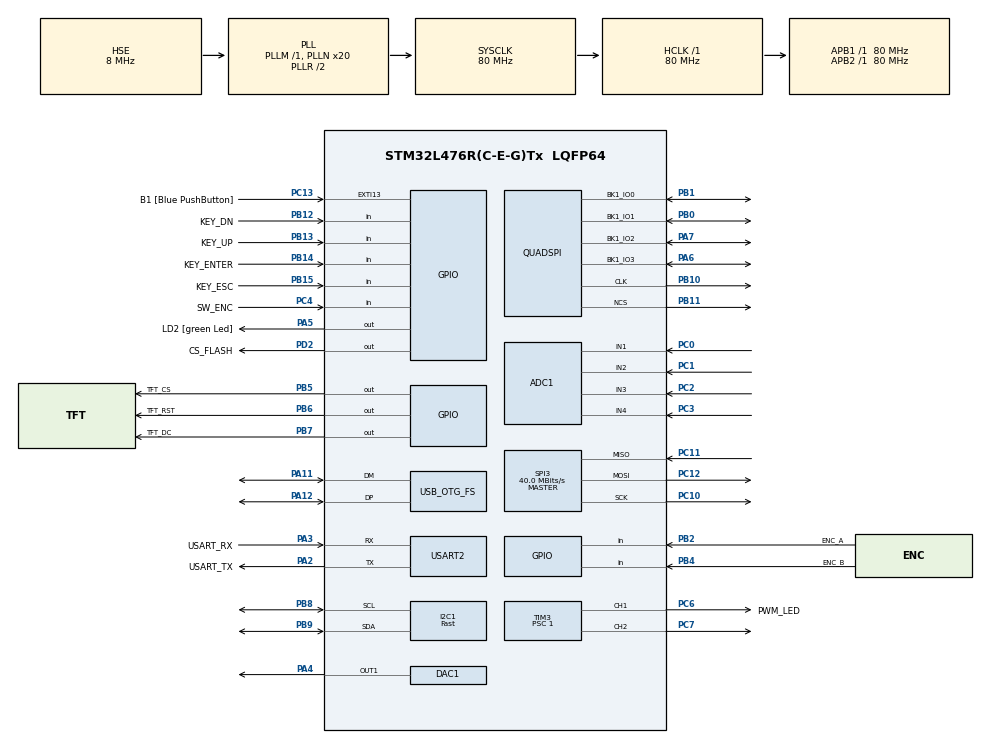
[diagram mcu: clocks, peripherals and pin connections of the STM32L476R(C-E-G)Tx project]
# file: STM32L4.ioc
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ADC1.Channel-0\#ChannelRegularConversion=ADC_CHANNEL_1
ADC1.Channel-1\#ChannelRegularConversion=ADC_CHANNEL_2
ADC1.Channel-2\#ChannelRegularConversion=ADC_CHANNEL_3
ADC1.Channel-3\#ChannelRegularConversion=ADC_CHANNEL_4
ADC1.ClockPrescaler=ADC_CLOCK_ASYNC_DIV2
ADC1.NbrOfConversion=4
ADC1.NbrOfConversionFlag=1
ADC1.OffsetNumber-0\#ChannelRegularConversion=ADC_OFFSET_NONE
ADC1.OffsetNumber-1\#ChannelRegularConversion=ADC_OFFSET_NONE
ADC1.OffsetNumber-2\#ChannelRegularConversion=ADC_OFFSET_NONE
ADC1.OffsetNumber-3\#ChannelRegularConversion=ADC_OFFSET_NONE
ADC1.Rank-0\#ChannelRegularConversion=1
ADC1.Rank-1\#ChannelRegularConversion=2
ADC1.Rank-2\#ChannelRegularConversion=3
ADC1.Rank-3\#ChannelRegularConversion=4
ADC1.SamplingTime-0\#ChannelRegularConversion=ADC_SAMPLETIME_247CYCLES_5
ADC1.SamplingTime-1\#ChannelRegularConversion=ADC_SAMPLETIME_247CYCLES_5
ADC1.SamplingTime-2\#ChannelRegularConversion=ADC_SAMPLETIME_247CYCLES_5
ADC1.SamplingTime-3\#ChannelRegularConversion=ADC_SAMPLETIME_247CYCLES_5
ADC1.master=1
Dma.QUADSPI.2.Direction=DMA_PERIPH_TO_MEMORY
Dma.QUADSPI.2.Instance=DMA1_Channel5
Dma.QUADSPI.2.MemDataAlignment=DMA_MDATAALIGN_BYTE
Dma.QUADSPI.2.MemInc=DMA_MINC_ENABLE
Dma.QUADSPI.2.Mode=DMA_NORMAL
Dma.QUADSPI.2.PeriphDataAlignment=DMA_PDATAALIGN_BYTE
Dma.QUADSPI.2.PeriphInc=DMA_PINC_DISABLE
Dma.QUADSPI.2.Priority=DMA_PRIORITY_HIGH
Dma.Request0=SPI3_TX
Dma.Request1=SPI3_RX
Dma.Request2=QUADSPI
Dma.SPI3_RX.1.Direction=DMA_PERIPH_TO_MEMORY
Dma.SPI3_RX.1.Instance=DMA2_Channel1
Dma.SPI3_RX.1.MemDataAlignment=DMA_MDATAALIGN_BYTE
Dma.SPI3_RX.1.MemInc=DMA_MINC_ENABLE
Dma.SPI3_RX.1.Mode=DMA_NORMAL
Dma.SPI3_RX.1.PeriphDataAlignment=DMA_PDATAALIGN_BYTE
Dma.SPI3_RX.1.PeriphInc=DMA_PINC_DISABLE
Dma.SPI3_RX.1.Priority=DMA_PRIORITY_HIGH
Dma.SPI3_TX.0.Direction=DMA_MEMORY_TO_PERIPH
Dma.SPI3_TX.0.Instance=DMA2_Channel2
Dma.SPI3_TX.0.MemDataAlignment=DMA_MDATAALIGN_BYTE
Dma.SPI3_TX.0.MemInc=DMA_MINC_ENABLE
Dma.SPI3_TX.0.Mode=DMA_NORMAL
Dma.SPI3_TX.0.PeriphDataAlignment=DMA_PDATAALIGN_BYTE
Dma.SPI3_TX.0.PeriphInc=DMA_PINC_DISABLE
Dma.SPI3_TX.0.Priority=DMA_PRIORITY_HIGH
FATFS._MAX_SS=4096
FATFS._MIN_SS=4096
I2C1.I2C_Coeff_DF=1
I2C1.I2C_Speed_Mode=I2C_Fast
I2C1.Timing=0x00702890
Mcu.Family=STM32L4
Mcu.Name=STM32L476R(C-E-G)Tx
Mcu.Package=LQFP64
NVIC.DMA1_Channel5_IRQn=true\:0\:0\:false\:false\:true\:false\:true
NVIC.DMA2_Channel1_IRQn=true\:0\:0\:false\:false\:true\:false\:true
NVIC.DMA2_Channel2_IRQn=true\:0\:0\:false\:false\:true\:false\:true
NVIC.OTG_FS_IRQn=true\:0\:0\:false\:false\:true\:false\:true
NVIC.PriorityGroup=NVIC_PRIORITYGROUP_4
NVIC.QUADSPI_IRQn=true\:0\:0\:false\:false\:true\:true\:true
NVIC.SPI3_IRQn=true\:0\:0\:false\:false\:true\:true\:true
NVIC.TIM6_DAC_IRQn=true\:0\:0\:false\:false\:true\:false\:true
NVIC.TimeBase=TIM6_DAC_IRQn
NVIC.TimeBaseIP=TIM6
PA11.Mode=Device_Only
PA11.Signal=USB_OTG_FS_DM
PA12.Mode=Device_Only
PA12.Signal=USB_OTG_FS_DP
PA13\ (JTMS-SWDIO).GPIO_Label=TMS
PA13\ (JTMS-SWDIO).Mode=Serial_Wire
PA13\ (JTMS-SWDIO).Signal=SYS_JTMS-SWDIO
PA14\ (JTCK-SWCLK).GPIO_Label=TCK
PA14\ (JTCK-SWCLK).Mode=Serial_Wire
PA14\ (JTCK-SWCLK).Signal=SYS_JTCK-SWCLK
PA2.GPIO_Label=USART_TX
PA2.GPIO_Mode=GPIO_MODE_AF_PP
PA2.GPIO_PuPd=GPIO_NOPULL
PA2.GPIO_Speed=GPIO_SPEED_FREQ_VERY_HIGH
PA2.Mode=Asynchronous
PA2.Signal=USART2_TX
PA3.GPIO_Label=USART_RX
PA3.GPIO_Mode=GPIO_MODE_AF_PP
PA3.GPIO_PuPd=GPIO_NOPULL
PA3.GPIO_Speed=GPIO_SPEED_FREQ_VERY_HIGH
PA3.Mode=Asynchronous
PA3.Signal=USART2_RX
PA4.Signal=COMP_DAC11_group
PA5.GPIO_Label=LD2 [green Led]
PA5.GPIO_ModeDefaultOutputPP=GPIO_MODE_OUTPUT_PP
PA5.GPIO_PuPd=GPIO_NOPULL
PA5.GPIO_Speed=GPIO_SPEED_FREQ_LOW
PA5.Signal=GPIO_Output
PA6.Mode=Single Bank
PA6.Signal=QUADSPI_BK1_IO3
PA7.Mode=Single Bank
PA7.Signal=QUADSPI_BK1_IO2
PB0.Mode=Single Bank
PB0.Signal=QUADSPI_BK1_IO1
PB1.Mode=Single Bank
PB1.Signal=QUADSPI_BK1_IO0
PB10.Mode=Single Bank
PB10.Signal=QUADSPI_CLK
PB11.Mode=Single Bank
PB11.Signal=QUADSPI_NCS
PB12.GPIO_Label=KEY_DN
PB12.GPIO_PuPd=GPIO_PULLUP
PB12.Signal=GPIO_Input
PB13.GPIO_Label=KEY_UP
PB13.GPIO_PuPd=GPIO_PULLUP
PB13.Signal=GPIO_Input
PB14.GPIO_Label=KEY_ENTER
PB14.GPIO_PuPd=GPIO_PULLUP
PB14.Signal=GPIO_Input
PB15.GPIO_Label=KEY_ESC
PB15.GPIO_PuPd=GPIO_PULLUP
PB15.Signal=GPIO_Input
PB2.GPIO_Label=ENC_A
PB2.GPIO_PuPd=GPIO_PULLUP
PB2.Signal=GPIO_Input
PB3\ (JTDO-TRACESWO).GPIO_Label=SWO
PB3\ (JTDO-TRACESWO).Signal=SYS_JTDO-SWO
PB4\ (NJTRST).GPIO_Label=ENC_B
PB4\ (NJTRST).GPIO_PuPd=GPIO_PULLUP
PB4\ (NJTRST).Signal=GPIO_Input
PB5.GPIO_Label=TFT_CS
PB5.PinState=GPIO_PIN_SET
PB5.Signal=GPIO_Output
PB6.GPIO_Label=TFT_RST
PB6.PinState=GPIO_PIN_SET
PB6.Signal=GPIO_Output
PB7.GPIO_Label=TFT_DC
PB7.PinState=GPIO_PIN_SET
PB7.Signal=GPIO_Output
PB8.Mode=I2C
PB8.Signal=I2C1_SCL
PB9.Mode=I2C
PB9.Signal=I2C1_SDA
PC0.Signal=ADCx_IN1
PC1.Signal=ADCx_IN2
PC10.Mode=Full_Duplex_Master
PC10.Signal=SPI3_SCK
PC11.Mode=Full_Duplex_Master
PC11.Signal=SPI3_MISO
PC12.Mode=Full_Duplex_Master
PC12.Signal=SPI3_MOSI
PC13.GPIO_Label=B1 [Blue PushButton]
PC13.GPIO_ModeDefaultEXTI=GPIO_MODE_IT_FALLING
PC13.GPIO_PuPd=GPIO_PULLUP
PC13.Signal=GPXTI13
PC14-OSC32_IN\ (PC14).Mode=LSE-External-Oscillator
PC14-OSC32_IN\ (PC14).Signal=RCC_OSC32_IN
PC15-OSC32_OUT\ (PC15).Mode=LSE-External-Oscillator
PC15-OSC32_OUT\ (PC15).Signal=RCC_OSC32_OUT
PC2.Signal=ADCx_IN3
PC3.Signal=ADCx_IN4
PC4.GPIO_Label=SW_ENC
PC4.GPIO_PuPd=GPIO_PULLUP
PC4.Signal=GPIO_Input
PC6.GPIO_Label=PWM_LED
PC6.Signal=S_TIM3_CH1
PC7.Signal=S_TIM3_CH2
PD2.GPIO_Label=CS_FLASH
PD2.PinState=GPIO_PIN_SET
PD2.Signal=GPIO_Output
PH0-OSC_IN\ (PH0).Mode=HSE-External-Clock-Source
PH0-OSC_IN\ (PH0).Signal=RCC_OSC_IN
PH1-OSC_OUT\ (PH1).Signal=RCC_OSC_OUT
ProjectManager.HeapSize=0x200
ProjectManager.StackSize=0x400
ProjectManager.TargetToolchain=TrueSTUDIO
QUADSPI.ChipSelectHighTime-Single\ Bank=QSPI_CS_HIGH_TIME_2_CYCLE
QUADSPI.ClockPrescaler-Single\ Bank=0
QUADSPI.FifoThreshold-Single\ Bank=4
QUADSPI.FlashSize-Single\ Bank=23
QUADSPI.SampleShifting-Single\ Bank=QSPI_SAMPLE_SHIFTING_HALFCYCLE
RCC.ADCFreq_Value=48000000
RCC.AHBFreq_Value=80000000
RCC.APB1Freq_Value=80000000
RCC.APB1TimFreq_Value=80000000
RCC.APB2Freq_Value=80000000
RCC.APB2TimFreq_Value=80000000
RCC.CortexFreq_Value=80000000
RCC.HCLKFreq_Value=80000000
RCC.HSE_VALUE=8000000
RCC.HSI_VALUE=16000000
RCC.MSI_VALUE=4000000
RCC.PLLN=20
RCC.PLLSAI1N=12
RCC.PLLSourceVirtual=RCC_PLLSOURCE_HSE
RCC.PREFETCH_ENABLE=1
RCC.RTCClockSelection=RCC_RTCCLKSOURCE_LSE
RCC.SYSCLKFreq_VALUE=80000000
RCC.SYSCLKSource=RCC_SYSCLKSOURCE_PLLCLK
RCC.USBFreq_Value=48000000
RCC.VCOOutputFreq_Value=160000000
RTC.Year=19
SH.ADCx_IN1.0=ADC1_IN1,IN1-Single-Ended
SH.ADCx_IN2.0=ADC1_IN2,IN2-Single-Ended
SH.ADCx_IN3.0=ADC1_IN3,IN3-Single-Ended
SH.ADCx_IN4.0=ADC1_IN4,IN4-Single-Ended
SH.COMP_DAC11_group.0=DAC1_OUT1,DAC_OUT1
SH.S_TIM3_CH1.0=TIM3_CH1,PWM Generation1 CH1
SH.S_TIM3_CH2.0=TIM3_CH2,PWM Generation2 CH2
SPI3.BaudRatePrescaler=SPI_BAUDRATEPRESCALER_2
SPI3.CalculateBaudRate=40.0 MBits/s
SPI3.DataSize=SPI_DATASIZE_8BIT
SPI3.Direction=SPI_DIRECTION_2LINES
SPI3.Mode=SPI_MODE_MASTER
SPI3.VirtualType=VM_MASTER
TIM3.Channel-PWM\ Generation1\ CH1=TIM_CHANNEL_1
TIM3.Channel-PWM\ Generation2\ CH2=TIM_CHANNEL_2
TIM3.OCPolarity_1=TIM_OCPOLARITY_LOW
TIM3.Period=4095
TIM3.Prescaler=1
USART2.VirtualMode-Asynchronous=VM_ASYNC
USB_DEVICE.CLASS_NAME_FS=MSC
USB_DEVICE.VirtualMode=Msc
USB_DEVICE.VirtualModeFS=Msc_FS
USB_OTG_FS.VirtualMode=Device_Only
VP_FATFS_VS_Generic.Mode=User_defined
VP_RTC_VS_RTC_Activate.Mode=RTC_Enabled
VP_RTC_VS_RTC_Calendar.Mode=RTC_Calendar
VP_SYS_VS_tim6.Mode=TIM6
VP_TIM3_VS_ClockSourceINT.Mode=Internal
VP_USB_DEVICE_VS_USB_DEVICE_MSC_FS.Mode=MSC_FS
board=NUCLEO-L476RG

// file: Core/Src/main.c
/* USER CODE BEGIN Header */
/**
  ******************************************************************************
  * @file           : main.c
  * @brief          : Main program body
  ******************************************************************************
  * @attention
  *
  * <h2><center>&copy; Copyright (c) 2019 STMicroelectronics.
  * All rights reserved.</center></h2>
  *
  * This software component is licensed by ST under Ultimate Liberty license
  * SLA0044, the "License"; You may not use this file except in compliance with
  * the License. You may obtain a copy of the License at:
  *                             www.st.com/SLA0044
  *
  ******************************************************************************
  */
/* USER CODE END Header */

#include "main.h"
#include "fatfs.h"
#include "usb_device.h"

/* USER CODE BEGIN Includes */
#include "ST7735.h"
#include "lvgl/lvgl.h"
#include "misc.h"
#include "key.h"
#include "w25qxx.h"
#include "Sinteck/GUI/EX15-XT.h"
/* USER CODE END Includes */

/* USER CODE BEGIN PTD */
static lv_disp_buf_t disp_buf;
static lv_color_t buf[LV_HOR_RES_MAX * 10];		// Declare a buffer for 10 lines
//static lv_color_t buf2[LV_HOR_RES_MAX * 10];	// Declare a buffer for 10 lines
uint32_t timer_key = 0, timer_loop = 0, timer_gui = 0;
uint16_t tft_pwm = 0;
/* USER CODE END PTD */

/* USER CODE BEGIN PD */
// Variaves TX EX15-XT
long int frequencia = 9810;
uint8_t Cfg_Stereo = 1, Cfg_Audio = 0, Cfg_Processador = 0, Cfg_Clipper = 0, Cfg_Emphase = 0, RFEnable = 1, mp3_status = 0;
uint8_t pll_status = 1;
char buffer[200] = {0};
float temperatura = 25.0f;
float forward = 0.0f, reflected = 0.0f, max_rfl = 1.5f, target = 15.0f;
uint32_t TelaAtiva = 0, MenuSel = 0, falha = 0, mpx = 0, Last_mpx = 0, Max_Reflected = 15, Target_Int = 15;
uint8_t sent_hor = 0, sent_mpx = 0;
uint32_t audio_l = 0, Last_audio_l = 0;
uint32_t audio_r = 0, Last_audio_r = 0;
uint32_t mpx2 = 0, Last_mpx2 = 0;
/* USER CODE END PD */

ADC_HandleTypeDef hadc1;

DAC_HandleTypeDef hdac1;

I2C_HandleTypeDef hi2c1;

QSPI_HandleTypeDef hqspi;
DMA_HandleTypeDef hdma_quadspi;

RTC_HandleTypeDef hrtc;

SPI_HandleTypeDef hspi3;
DMA_HandleTypeDef hdma_spi3_tx;
DMA_HandleTypeDef hdma_spi3_rx;

TIM_HandleTypeDef htim3;

UART_HandleTypeDef huart2;

void SystemClock_Config(void);
static void MX_GPIO_Init(void);
static void MX_DMA_Init(void);
static void MX_USART2_UART_Init(void);
static void MX_I2C1_Init(void);
static void MX_QUADSPI_Init(void);
static void MX_SPI3_Init(void);
static void MX_TIM3_Init(void);
static void MX_RTC_Init(void);
static void MX_ADC1_Init(void);
static void MX_DAC1_Init(void);

int main(void)
{

  /* MCU Configuration--------------------------------------------------------*/

  /* Reset of all peripherals, Initializes the Flash interface and the Systick. */
  HAL_Init();

  /* Configure the system clock */
  SystemClock_Config();

  /* Initialize all configured peripherals */
  MX_DMA_Init();
  MX_GPIO_Init();
  MX_USART2_UART_Init();
  MX_I2C1_Init();
  MX_QUADSPI_Init();
  MX_SPI3_Init();
  MX_TIM3_Init();
  MX_RTC_Init();
  //MX_FATFS_Init();
  MX_ADC1_Init();
  MX_DAC1_Init();
  MX_USB_DEVICE_Init();
  /* USER CODE BEGIN 2 */
  // Inicia PWM
  HAL_TIM_PWM_Start(&htim3, TIM_CHANNEL_1);
  HAL_TIM_PWM_Start(&htim3, TIM_CHANNEL_2);
  __HAL_TIM_SetCompare(&htim3, TIM_CHANNEL_1, 4095);			// PWM_CH1 = 4095 100% brilho
  __HAL_TIM_SetCompare(&htim3, TIM_CHANNEL_2, 4095);		    // PWM_CH2 = 4095
  // ST7735
  ST7735_Init();
  ST7735_Clear(0x0000);
  //ST7735_PutStr5x7(40, 0, "STM32L476RG Board", 0xFFFF);
  tft_backlight(100);

  // Inicia Fila de Eventos do Teclado
  Evt_InitQueue();

  // Inicia Tecla
  KeyboardInit(0x01);

  MX_FATFS_Init();

  // Teste Float
  temperatura = (float)(2000 *(3.30/4095.0));
  sprintf(buffer, "Temperatura: %0.1f°C\n", temperatura);
  HAL_UART_Transmit(&huart2, (uint8_t*)buffer, strlen(buffer), HAL_MAX_DELAY); // send message via UART

  //lv_disp_buf_init(&disp_buf, buf, buf2, LV_HOR_RES_MAX * 10);    //Initialize the display buffer
  lv_disp_buf_init(&disp_buf, buf, NULL, LV_HOR_RES_MAX * 10);    //Initialize the display buffer
  //lv_log_register_print_cb(my_print);
  lv_init();

  // LVGL Setup
  lv_disp_drv_t disp_drv;               //Descriptor of a display driver
  lv_disp_drv_init(&disp_drv);          //Basic initialization
  // TFT
  disp_drv.hor_res = 160;               //Set the horizontal resolution
  disp_drv.ver_res = 128;               //Set the vertical resolution
  disp_drv.flush_cb = ST7735_Flush_3;	//Set your driver function
  disp_drv.buffer = &disp_buf;          //Assign the buffer to teh display
  lv_disp_drv_register(&disp_drv);      //Finally register the driver
  // KEYPAD

  // Tela Principal
  main_screen();
  /* USER CODE END 2 */

  /* Infinite loop */
  while (1)
  {

    /* USER CODE BEGIN 3 */
	  // Debug
	  if(HAL_GetTick() - timer_loop >= 500) {
		  timer_loop = HAL_GetTick();
		  HAL_GPIO_TogglePin(LD2_GPIO_Port, LD2_Pin);
	  }
	  // Eventos de Teclado
	  //KeyboardEvent();
	  ButtonEvent();

	  // Read Rotary Encoder
	  Read_Encoder();

	  // Eventos da GUI LittleVG
	  lv_task_handler();

	  // Timer GUI
	  if(TelaAtiva != TelaPrincipal &&  ( (HAL_GetTick() - timer_gui) > 60000) ) {

	  }
  }
  /* USER CODE END 3 */
}

void SystemClock_Config(void)
{
  RCC_OscInitTypeDef RCC_OscInitStruct = {0};
  RCC_ClkInitTypeDef RCC_ClkInitStruct = {0};
  RCC_PeriphCLKInitTypeDef PeriphClkInit = {0};

  /** Configure LSE Drive Capability
  */
  HAL_PWR_EnableBkUpAccess();
  __HAL_RCC_LSEDRIVE_CONFIG(RCC_LSEDRIVE_LOW);
  /** Initializes the CPU, AHB and APB busses clocks
  */
  RCC_OscInitStruct.OscillatorType = RCC_OSCILLATORTYPE_HSE|RCC_OSCILLATORTYPE_LSE;
  RCC_OscInitStruct.HSEState = RCC_HSE_BYPASS;
  RCC_OscInitStruct.LSEState = RCC_LSE_ON;
  RCC_OscInitStruct.PLL.PLLState = RCC_PLL_ON;
  RCC_OscInitStruct.PLL.PLLSource = RCC_PLLSOURCE_HSE;
  RCC_OscInitStruct.PLL.PLLM = 1;
  RCC_OscInitStruct.PLL.PLLN = 20;
  RCC_OscInitStruct.PLL.PLLP = RCC_PLLP_DIV7;
  RCC_OscInitStruct.PLL.PLLQ = RCC_PLLQ_DIV2;
  RCC_OscInitStruct.PLL.PLLR = RCC_PLLR_DIV2;
  if (HAL_RCC_OscConfig(&RCC_OscInitStruct) != HAL_OK)
  {
    Error_Handler();
  }
  /** Initializes the CPU, AHB and APB busses clocks
  */
  RCC_ClkInitStruct.ClockType = RCC_CLOCKTYPE_HCLK|RCC_CLOCKTYPE_SYSCLK
                              |RCC_CLOCKTYPE_PCLK1|RCC_CLOCKTYPE_PCLK2;
  RCC_ClkInitStruct.SYSCLKSource = RCC_SYSCLKSOURCE_PLLCLK;
  RCC_ClkInitStruct.AHBCLKDivider = RCC_SYSCLK_DIV1;
  RCC_ClkInitStruct.APB1CLKDivider = RCC_HCLK_DIV1;
  RCC_ClkInitStruct.APB2CLKDivider = RCC_HCLK_DIV1;

  if (HAL_RCC_ClockConfig(&RCC_ClkInitStruct, FLASH_LATENCY_4) != HAL_OK)
  {
    Error_Handler();
  }
  PeriphClkInit.PeriphClockSelection = RCC_PERIPHCLK_RTC|RCC_PERIPHCLK_USART2
                              |RCC_PERIPHCLK_I2C1|RCC_PERIPHCLK_USB
                              |RCC_PERIPHCLK_ADC;
  PeriphClkInit.Usart2ClockSelection = RCC_USART2CLKSOURCE_PCLK1;
  PeriphClkInit.I2c1ClockSelection = RCC_I2C1CLKSOURCE_PCLK1;
  PeriphClkInit.AdcClockSelection = RCC_ADCCLKSOURCE_PLLSAI1;
  PeriphClkInit.RTCClockSelection = RCC_RTCCLKSOURCE_LSE;
  PeriphClkInit.UsbClockSelection = RCC_USBCLKSOURCE_PLLSAI1;
  PeriphClkInit.PLLSAI1.PLLSAI1Source = RCC_PLLSOURCE_HSE;
  PeriphClkInit.PLLSAI1.PLLSAI1M = 1;
  PeriphClkInit.PLLSAI1.PLLSAI1N = 12;
  PeriphClkInit.PLLSAI1.PLLSAI1P = RCC_PLLP_DIV7;
  PeriphClkInit.PLLSAI1.PLLSAI1Q = RCC_PLLQ_DIV2;
  PeriphClkInit.PLLSAI1.PLLSAI1R = RCC_PLLR_DIV2;
  PeriphClkInit.PLLSAI1.PLLSAI1ClockOut = RCC_PLLSAI1_48M2CLK|RCC_PLLSAI1_ADC1CLK;
  if (HAL_RCCEx_PeriphCLKConfig(&PeriphClkInit) != HAL_OK)
  {
    Error_Handler();
  }
  /** Configure the main internal regulator output voltage
  */
  if (HAL_PWREx_ControlVoltageScaling(PWR_REGULATOR_VOLTAGE_SCALE1) != HAL_OK)
  {
    Error_Handler();
  }
}

static void MX_ADC1_Init(void)
{

  ADC_MultiModeTypeDef multimode = {0};
  ADC_ChannelConfTypeDef sConfig = {0};

  /** Common config
  */
  hadc1.Instance = ADC1;
  hadc1.Init.ClockPrescaler = ADC_CLOCK_ASYNC_DIV2;
  hadc1.Init.Resolution = ADC_RESOLUTION_12B;
  hadc1.Init.DataAlign = ADC_DATAALIGN_RIGHT;
  hadc1.Init.ScanConvMode = ADC_SCAN_ENABLE;
  hadc1.Init.EOCSelection = ADC_EOC_SINGLE_CONV;
  hadc1.Init.LowPowerAutoWait = DISABLE;
  hadc1.Init.ContinuousConvMode = DISABLE;
  hadc1.Init.NbrOfConversion = 4;
  hadc1.Init.DiscontinuousConvMode = DISABLE;
  hadc1.Init.ExternalTrigConv = ADC_SOFTWARE_START;
  hadc1.Init.ExternalTrigConvEdge = ADC_EXTERNALTRIGCONVEDGE_NONE;
  hadc1.Init.DMAContinuousRequests = DISABLE;
  hadc1.Init.Overrun = ADC_OVR_DATA_PRESERVED;
  hadc1.Init.OversamplingMode = DISABLE;
  if (HAL_ADC_Init(&hadc1) != HAL_OK)
  {
    Error_Handler();
  }
  /** Configure the ADC multi-mode
  */
  multimode.Mode = ADC_MODE_INDEPENDENT;
  if (HAL_ADCEx_MultiModeConfigChannel(&hadc1, &multimode) != HAL_OK)
  {
    Error_Handler();
  }
  /** Configure Regular Channel
  */
  sConfig.Channel = ADC_CHANNEL_1;
  sConfig.Rank = ADC_REGULAR_RANK_1;
  sConfig.SamplingTime = ADC_SAMPLETIME_247CYCLES_5;
  sConfig.SingleDiff = ADC_SINGLE_ENDED;
  sConfig.OffsetNumber = ADC_OFFSET_NONE;
  sConfig.Offset = 0;
  if (HAL_ADC_ConfigChannel(&hadc1, &sConfig) != HAL_OK)
  {
    Error_Handler();
  }
  /** Configure Regular Channel
  */
  sConfig.Channel = ADC_CHANNEL_2;
  sConfig.Rank = ADC_REGULAR_RANK_2;
  if (HAL_ADC_ConfigChannel(&hadc1, &sConfig) != HAL_OK)
  {
    Error_Handler();
  }
  /** Configure Regular Channel
  */
  sConfig.Channel = ADC_CHANNEL_3;
  sConfig.Rank = ADC_REGULAR_RANK_3;
  if (HAL_ADC_ConfigChannel(&hadc1, &sConfig) != HAL_OK)
  {
    Error_Handler();
  }
  /** Configure Regular Channel
  */
  sConfig.Channel = ADC_CHANNEL_4;
  sConfig.Rank = ADC_REGULAR_RANK_4;
  if (HAL_ADC_ConfigChannel(&hadc1, &sConfig) != HAL_OK)
  {
    Error_Handler();
  }

}

static void MX_DAC1_Init(void)
{

  DAC_ChannelConfTypeDef sConfig = {0};

  /** DAC Initialization
  */
  hdac1.Instance = DAC1;
  if (HAL_DAC_Init(&hdac1) != HAL_OK)
  {
    Error_Handler();
  }
  /** DAC channel OUT1 config
  */
  sConfig.DAC_SampleAndHold = DAC_SAMPLEANDHOLD_DISABLE;
  sConfig.DAC_Trigger = DAC_TRIGGER_NONE;
  sConfig.DAC_OutputBuffer = DAC_OUTPUTBUFFER_ENABLE;
  sConfig.DAC_ConnectOnChipPeripheral = DAC_CHIPCONNECT_DISABLE;
  sConfig.DAC_UserTrimming = DAC_TRIMMING_FACTORY;
  if (HAL_DAC_ConfigChannel(&hdac1, &sConfig, DAC_CHANNEL_1) != HAL_OK)
  {
    Error_Handler();
  }

}

static void MX_I2C1_Init(void)
{

  hi2c1.Instance = I2C1;
  hi2c1.Init.Timing = 0x00702890;
  hi2c1.Init.OwnAddress1 = 0;
  hi2c1.Init.AddressingMode = I2C_ADDRESSINGMODE_7BIT;
  hi2c1.Init.DualAddressMode = I2C_DUALADDRESS_DISABLE;
  hi2c1.Init.OwnAddress2 = 0;
  hi2c1.Init.OwnAddress2Masks = I2C_OA2_NOMASK;
  hi2c1.Init.GeneralCallMode = I2C_GENERALCALL_DISABLE;
  hi2c1.Init.NoStretchMode = I2C_NOSTRETCH_DISABLE;
  if (HAL_I2C_Init(&hi2c1) != HAL_OK)
  {
    Error_Handler();
  }
  /** Configure Analogue filter
  */
  if (HAL_I2CEx_ConfigAnalogFilter(&hi2c1, I2C_ANALOGFILTER_ENABLE) != HAL_OK)
  {
    Error_Handler();
  }
  /** Configure Digital filter
  */
  if (HAL_I2CEx_ConfigDigitalFilter(&hi2c1, 1) != HAL_OK)
  {
    Error_Handler();
  }

}

static void MX_QUADSPI_Init(void)
{

  /* QUADSPI parameter configuration*/
  hqspi.Instance = QUADSPI;
  hqspi.Init.ClockPrescaler = 0;
  hqspi.Init.FifoThreshold = 4;
  hqspi.Init.SampleShifting = QSPI_SAMPLE_SHIFTING_HALFCYCLE;
  hqspi.Init.FlashSize = 23;
  hqspi.Init.ChipSelectHighTime = QSPI_CS_HIGH_TIME_2_CYCLE;
  hqspi.Init.ClockMode = QSPI_CLOCK_MODE_0;
  if (HAL_QSPI_Init(&hqspi) != HAL_OK)
  {
    Error_Handler();
  }

}

static void MX_RTC_Init(void)
{

  RTC_TimeTypeDef sTime = {0};
  RTC_DateTypeDef sDate = {0};

  /** Initialize RTC Only
  */
  hrtc.Instance = RTC;
  hrtc.Init.HourFormat = RTC_HOURFORMAT_24;
  hrtc.Init.AsynchPrediv = 127;
  hrtc.Init.SynchPrediv = 255;
  hrtc.Init.OutPut = RTC_OUTPUT_DISABLE;
  hrtc.Init.OutPutRemap = RTC_OUTPUT_REMAP_NONE;
  hrtc.Init.OutPutPolarity = RTC_OUTPUT_POLARITY_HIGH;
  hrtc.Init.OutPutType = RTC_OUTPUT_TYPE_OPENDRAIN;
  if (HAL_RTC_Init(&hrtc) != HAL_OK)
  {
    Error_Handler();
  }

  /** Initialize RTC and set the Time and Date
  */
  sTime.Hours = 0x0;
  sTime.Minutes = 0x0;
  sTime.Seconds = 0x0;
  sTime.DayLightSaving = RTC_DAYLIGHTSAVING_NONE;
  sTime.StoreOperation = RTC_STOREOPERATION_RESET;
  if (HAL_RTC_SetTime(&hrtc, &sTime, RTC_FORMAT_BCD) != HAL_OK)
  {
    Error_Handler();
  }
  sDate.WeekDay = RTC_WEEKDAY_MONDAY;
  sDate.Month = RTC_MONTH_JANUARY;
  sDate.Date = 0x1;
  sDate.Year = 0x19;

  if (HAL_RTC_SetDate(&hrtc, &sDate, RTC_FORMAT_BCD) != HAL_OK)
  {
    Error_Handler();
  }

}

static void MX_SPI3_Init(void)
{

  /* SPI3 parameter configuration*/
  hspi3.Instance = SPI3;
  hspi3.Init.Mode = SPI_MODE_MASTER;
  hspi3.Init.Direction = SPI_DIRECTION_2LINES;
  hspi3.Init.DataSize = SPI_DATASIZE_8BIT;
  hspi3.Init.CLKPolarity = SPI_POLARITY_LOW;
  hspi3.Init.CLKPhase = SPI_PHASE_1EDGE;
  hspi3.Init.NSS = SPI_NSS_SOFT;
  hspi3.Init.BaudRatePrescaler = SPI_BAUDRATEPRESCALER_2;
  hspi3.Init.FirstBit = SPI_FIRSTBIT_MSB;
  hspi3.Init.TIMode = SPI_TIMODE_DISABLE;
  hspi3.Init.CRCCalculation = SPI_CRCCALCULATION_DISABLE;
  hspi3.Init.CRCPolynomial = 7;
  hspi3.Init.CRCLength = SPI_CRC_LENGTH_DATASIZE;
  hspi3.Init.NSSPMode = SPI_NSS_PULSE_ENABLE;
  if (HAL_SPI_Init(&hspi3) != HAL_OK)
  {
    Error_Handler();
  }

}

static void MX_TIM3_Init(void)
{

  TIM_ClockConfigTypeDef sClockSourceConfig = {0};
  TIM_MasterConfigTypeDef sMasterConfig = {0};
  TIM_OC_InitTypeDef sConfigOC = {0};

  htim3.Instance = TIM3;
  htim3.Init.Prescaler = 1;
  htim3.Init.CounterMode = TIM_COUNTERMODE_UP;
  htim3.Init.Period = 4095;
  htim3.Init.ClockDivision = TIM_CLOCKDIVISION_DIV1;
  htim3.Init.AutoReloadPreload = TIM_AUTORELOAD_PRELOAD_DISABLE;
  if (HAL_TIM_Base_Init(&htim3) != HAL_OK)
  {
    Error_Handler();
  }
  sClockSourceConfig.ClockSource = TIM_CLOCKSOURCE_INTERNAL;
  if (HAL_TIM_ConfigClockSource(&htim3, &sClockSourceConfig) != HAL_OK)
  {
    Error_Handler();
  }
  if (HAL_TIM_PWM_Init(&htim3) != HAL_OK)
  {
    Error_Handler();
  }
  sMasterConfig.MasterOutputTrigger = TIM_TRGO_RESET;
  sMasterConfig.MasterSlaveMode = TIM_MASTERSLAVEMODE_DISABLE;
  if (HAL_TIMEx_MasterConfigSynchronization(&htim3, &sMasterConfig) != HAL_OK)
  {
    Error_Handler();
  }
  sConfigOC.OCMode = TIM_OCMODE_PWM1;
  sConfigOC.Pulse = 0;
  sConfigOC.OCPolarity = TIM_OCPOLARITY_LOW;
  sConfigOC.OCFastMode = TIM_OCFAST_DISABLE;
  if (HAL_TIM_PWM_ConfigChannel(&htim3, &sConfigOC, TIM_CHANNEL_1) != HAL_OK)
  {
    Error_Handler();
  }
  sConfigOC.OCPolarity = TIM_OCPOLARITY_HIGH;
  if (HAL_TIM_PWM_ConfigChannel(&htim3, &sConfigOC, TIM_CHANNEL_2) != HAL_OK)
  {
    Error_Handler();
  }
  HAL_TIM_MspPostInit(&htim3);

}

static void MX_USART2_UART_Init(void)
{

  huart2.Instance = USART2;
  huart2.Init.BaudRate = 115200;
  huart2.Init.WordLength = UART_WORDLENGTH_8B;
  huart2.Init.StopBits = UART_STOPBITS_1;
  huart2.Init.Parity = UART_PARITY_NONE;
  huart2.Init.Mode = UART_MODE_TX_RX;
  huart2.Init.HwFlowCtl = UART_HWCONTROL_NONE;
  huart2.Init.OverSampling = UART_OVERSAMPLING_16;
  huart2.Init.OneBitSampling = UART_ONE_BIT_SAMPLE_DISABLE;
  huart2.AdvancedInit.AdvFeatureInit = UART_ADVFEATURE_NO_INIT;
  if (HAL_UART_Init(&huart2) != HAL_OK)
  {
    Error_Handler();
  }

}

static void MX_DMA_Init(void)
{

  /* DMA controller clock enable */
  __HAL_RCC_DMA2_CLK_ENABLE();
  __HAL_RCC_DMA1_CLK_ENABLE();

  /* DMA interrupt init */
  /* DMA1_Channel5_IRQn interrupt configuration */
  HAL_NVIC_SetPriority(DMA1_Channel5_IRQn, 0, 0);
  HAL_NVIC_EnableIRQ(DMA1_Channel5_IRQn);
  /* DMA2_Channel1_IRQn interrupt configuration */
  HAL_NVIC_SetPriority(DMA2_Channel1_IRQn, 0, 0);
  HAL_NVIC_EnableIRQ(DMA2_Channel1_IRQn);
  /* DMA2_Channel2_IRQn interrupt configuration */
  HAL_NVIC_SetPriority(DMA2_Channel2_IRQn, 0, 0);
  HAL_NVIC_EnableIRQ(DMA2_Channel2_IRQn);

}

static void MX_GPIO_Init(void)
{
  GPIO_InitTypeDef GPIO_InitStruct = {0};

  /* GPIO Ports Clock Enable */
  __HAL_RCC_GPIOC_CLK_ENABLE();
  __HAL_RCC_GPIOH_CLK_ENABLE();
  __HAL_RCC_GPIOA_CLK_ENABLE();
  __HAL_RCC_GPIOB_CLK_ENABLE();
  __HAL_RCC_GPIOD_CLK_ENABLE();

  /*Configure GPIO pin Output Level */
  HAL_GPIO_WritePin(LD2_GPIO_Port, LD2_Pin, GPIO_PIN_RESET);

  /*Configure GPIO pin Output Level */
  HAL_GPIO_WritePin(CS_FLASH_GPIO_Port, CS_FLASH_Pin, GPIO_PIN_SET);

  /*Configure GPIO pin Output Level */
  HAL_GPIO_WritePin(GPIOB, TFT_CS_Pin|TFT_RST_Pin|TFT_DC_Pin, GPIO_PIN_SET);

  /*Configure GPIO pin : B1_Pin */
  GPIO_InitStruct.Pin = B1_Pin;
  GPIO_InitStruct.Mode = GPIO_MODE_IT_FALLING;
  GPIO_InitStruct.Pull = GPIO_PULLUP;
  HAL_GPIO_Init(B1_GPIO_Port, &GPIO_InitStruct);

  /*Configure GPIO pin : LD2_Pin */
  GPIO_InitStruct.Pin = LD2_Pin;
  GPIO_InitStruct.Mode = GPIO_MODE_OUTPUT_PP;
  GPIO_InitStruct.Pull = GPIO_NOPULL;
  GPIO_InitStruct.Speed = GPIO_SPEED_FREQ_LOW;
  HAL_GPIO_Init(LD2_GPIO_Port, &GPIO_InitStruct);

  /*Configure GPIO pin : SW_ENC_Pin */
  GPIO_InitStruct.Pin = SW_ENC_Pin;
  GPIO_InitStruct.Mode = GPIO_MODE_INPUT;
  GPIO_InitStruct.Pull = GPIO_PULLUP;
  HAL_GPIO_Init(SW_ENC_GPIO_Port, &GPIO_InitStruct);

  /*Configure GPIO pins : ENC_A_Pin KEY_DN_Pin KEY_UP_Pin KEY_ENTER_Pin
                           KEY_ESC_Pin ENC_B_Pin */
  GPIO_InitStruct.Pin = ENC_A_Pin|KEY_DN_Pin|KEY_UP_Pin|KEY_ENTER_Pin
                          |KEY_ESC_Pin|ENC_B_Pin;
  GPIO_InitStruct.Mode = GPIO_MODE_INPUT;
  GPIO_InitStruct.Pull = GPIO_PULLUP;
  HAL_GPIO_Init(GPIOB, &GPIO_InitStruct);

  /*Configure GPIO pin : CS_FLASH_Pin */
  GPIO_InitStruct.Pin = CS_FLASH_Pin;
  GPIO_InitStruct.Mode = GPIO_MODE_OUTPUT_PP;
  GPIO_InitStruct.Pull = GPIO_NOPULL;
  GPIO_InitStruct.Speed = GPIO_SPEED_FREQ_LOW;
  HAL_GPIO_Init(CS_FLASH_GPIO_Port, &GPIO_InitStruct);

  /*Configure GPIO pins : TFT_CS_Pin TFT_RST_Pin TFT_DC_Pin */
  GPIO_InitStruct.Pin = TFT_CS_Pin|TFT_RST_Pin|TFT_DC_Pin;
  GPIO_InitStruct.Mode = GPIO_MODE_OUTPUT_PP;
  GPIO_InitStruct.Pull = GPIO_NOPULL;
  GPIO_InitStruct.Speed = GPIO_SPEED_FREQ_LOW;
  HAL_GPIO_Init(GPIOB, &GPIO_InitStruct);

}

void HAL_TIM_PeriodElapsedCallback(TIM_HandleTypeDef *htim)
{
  if (htim->Instance == TIM6) {
    HAL_IncTick();
  }
  /* USER CODE BEGIN Callback 1 */
  if (htim->Instance == TIM6) {
	  lv_tick_inc(1);
  }
  if (htim->Instance == TIM6) {
 	  timer_key++;
 	  if(timer_key >= 40) {
 		  timer_key = 0;
 		  Key_Read();
 	  }
   }
  /* USER CODE END Callback 1 */
}

void Error_Handler(void)
{
}

/************************ (C) COPYRIGHT STMicroelectronics *****END OF FILE****/
